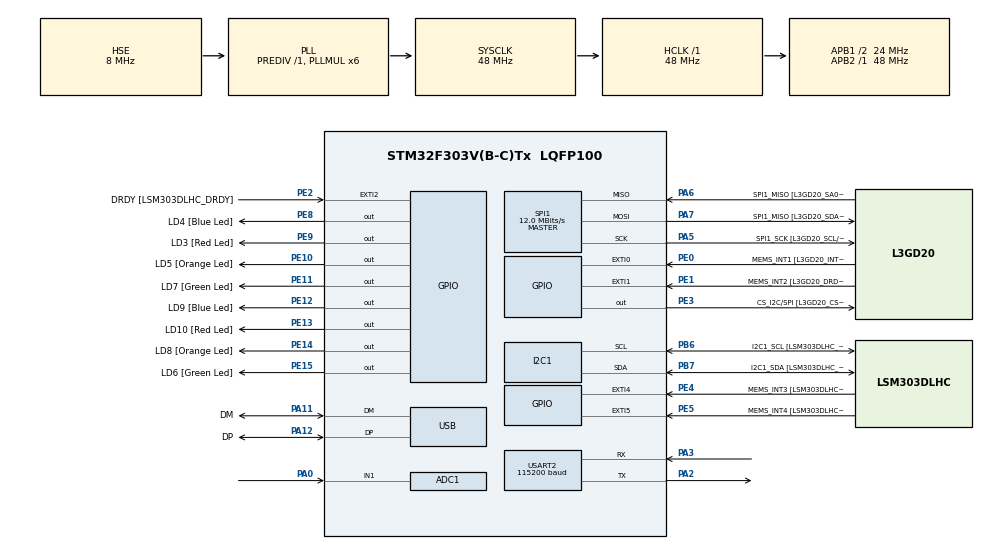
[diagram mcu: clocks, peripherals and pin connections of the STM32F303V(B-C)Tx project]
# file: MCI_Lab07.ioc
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ADC1.Channel-0\#ChannelRegularConversion=ADC_CHANNEL_1
ADC1.ContinuousConvMode=ENABLE
ADC1.NbrOfConversionFlag=1
ADC1.Offset-0\#ChannelRegularConversion=0
ADC1.OffsetNumber-0\#ChannelRegularConversion=ADC_OFFSET_NONE
ADC1.Rank-0\#ChannelRegularConversion=1
ADC1.SamplingTime-0\#ChannelRegularConversion=ADC_SAMPLETIME_601CYCLES_5
ADC1.master=1
I2C1.Timing=0x00201D2B
I2C1.Timing-I2C=0x2000090E
Mcu.Family=STM32F3
Mcu.Name=STM32F303V(B-C)Tx
Mcu.Package=LQFP100
NVIC.ADC1_2_IRQn=true\:0\:0\:false\:false\:true\:true\:true\:true
NVIC.PriorityGroup=NVIC_PRIORITYGROUP_0
PA0.Mode=IN1-Single-Ended
PA0.Signal=ADC1_IN1
PA11.GPIO_Label=DM
PA11.Mode=Device
PA11.Signal=USB_DM
PA12.GPIO_Label=DP
PA12.Mode=Device
PA12.Signal=USB_DP
PA13.GPIO_Label=SWDIO
PA13.Mode=Serial_Wire
PA13.Signal=SYS_JTMS-SWDIO
PA14.GPIO_Label=SWCLK
PA14.Mode=Serial_Wire
PA14.Signal=SYS_JTCK-SWCLK
PA2.Mode=Asynchronous
PA2.Signal=USART2_TX
PA3.Mode=Asynchronous
PA3.Signal=USART2_RX
PA5.GPIO_Label=SPI1_SCK [L3GD20_SCL/SPC]
PA5.Mode=Full_Duplex_Master
PA5.Signal=SPI1_SCK
PA6.GPIO_Label=SPI1_MISO [L3GD20_SA0/SDO]
PA6.Mode=Full_Duplex_Master
PA6.Signal=SPI1_MISO
PA7.GPIO_Label=SPI1_MISO [L3GD20_SDA/SDI/SDO]
PA7.Mode=Full_Duplex_Master
PA7.Signal=SPI1_MOSI
PB3.GPIO_Label=SWO
PB3.Signal=SYS_JTDO-TRACESWO
PB6.GPIO_Label=I2C1_SCL [LSM303DLHC_SCL]
PB6.GPIO_Pu=GPIO_PULLUP
PB6.Mode=I2C
PB6.Signal=I2C1_SCL
PB7.GPIO_Label=I2C1_SDA [LSM303DLHC_SDA]
PB7.GPIO_Pu=GPIO_PULLUP
PB7.Mode=I2C
PB7.Signal=I2C1_SDA
PC14-OSC32_IN.GPIO_Label=OSC32_IN
PC14-OSC32_IN.Signal=RCC_OSC32_IN
PC15-OSC32_OUT.GPIO_Label=OSC32_OUT
PC15-OSC32_OUT.Signal=RCC_OSC32_OUT
PE0.GPIO_Label=MEMS_INT1 [L3GD20_INT1]
PE0.GPIO_ModeDefaultEXTI=GPIO_MODE_EVT_RISING
PE0.Signal=GPXTI0
PE1.GPIO_Label=MEMS_INT2 [L3GD20_DRDY/INT2]
PE1.GPIO_ModeDefaultEXTI=GPIO_MODE_EVT_RISING
PE1.Signal=GPXTI1
PE10.GPIO_Label=LD5 [Orange Led]
PE10.Signal=GPIO_Output
PE11.GPIO_Label=LD7 [Green Led]
PE11.Signal=GPIO_Output
PE12.GPIO_Label=LD9 [Blue Led]
PE12.Signal=GPIO_Output
PE13.GPIO_Label=LD10 [Red Led]
PE13.Signal=GPIO_Output
PE14.GPIO_Label=LD8 [Orange Led]
PE14.Signal=GPIO_Output
PE15.GPIO_Label=LD6 [Green Led]
PE15.Signal=GPIO_Output
PE2.GPIO_Label=DRDY [LSM303DLHC_DRDY]
PE2.GPIO_ModeDefaultEXTI=GPIO_MODE_EVT_RISING
PE2.Signal=GPXTI2
PE3.GPIO_Label=CS_I2C/SPI [L3GD20_CS_I2C/SPI]
PE3.Signal=GPIO_Output
PE4.GPIO_Label=MEMS_INT3 [LSM303DLHC_INT1]
PE4.GPIO_ModeDefaultEXTI=GPIO_MODE_EVT_RISING
PE4.Signal=GPXTI4
PE5.GPIO_Label=MEMS_INT4 [LSM303DLHC_INT2]
PE5.GPIO_ModeDefaultEXTI=GPIO_MODE_EVT_RISING
PE5.Signal=GPXTI5
PE8.GPIO_Label=LD4 [Blue Led]
PE8.Signal=GPIO_Output
PE9.GPIO_Label=LD3 [Red Led]
PE9.Signal=GPIO_Output
PF0-OSC_IN.GPIO_Label=OSC_IN
PF0-OSC_IN.Mode=HSE-External-Clock-Source
PF0-OSC_IN.Signal=RCC_OSC_IN
PF1-OSC_OUT.GPIO_Label=OSC_OUT
PF1-OSC_OUT.Signal=RCC_OSC_OUT
ProjectManager.HeapSize=0x200
ProjectManager.StackSize=0x400
ProjectManager.TargetToolchain=CMake
RCC.AHBFreq_Value=48000000
RCC.APB1CLKDivider=RCC_HCLK_DIV2
RCC.APB1Freq_Value=24000000
RCC.APB1TimFreq_Value=48000000
RCC.APB2Freq_Value=48000000
RCC.APB2TimFreq_Value=48000000
RCC.CortexFreq_Value=48000000
RCC.HCLKFreq_Value=48000000
RCC.HSE_VALUE=8000000
RCC.HSI_VALUE=8000000
RCC.LSE_VALUE=32768
RCC.PLLMUL=RCC_PLL_MUL6
RCC.SYSCLKFreq_VALUE=48000000
RCC.SYSCLKSourceVirtual=RCC_SYSCLKSOURCE_PLLCLK
RCC.USBFreq_Value=48000000
SPI1.BaudRatePrescaler=SPI_BAUDRATEPRESCALER_4
SPI1.BaudRatePrescaler-Full_Duplex_Master=SPI_BAUDRATEPRESCALER_2
SPI1.CalculateBaudRate=12.0 MBits/s
SPI1.CalculateBaudRate-Full_Duplex_Master=24.0 MBits/s
SPI1.Direction=SPI_DIRECTION_2LINES
SPI1.Mode=SPI_MODE_MASTER
SPI1.Mode-Full_Duplex_Master=SPI_MODE_MASTER
SPI1.VirtualType=VM_MASTER
USART2.BaudRate=115200
USART2.VirtualMode-Asynchronous=VM_ASYNC
board=STM32F3DISCOVERY

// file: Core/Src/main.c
/* USER CODE BEGIN Header */
/**
  ******************************************************************************
  * @file           : main.c
  * @brief          : Main program body
  ******************************************************************************
  * @attention
  *
  * Copyright (c) 2026 STMicroelectronics.
  * All rights reserved.
  *
  * This software is licensed under terms that can be found in the LICENSE file
  * in the root directory of this software component.
  * If no LICENSE file comes with this software, it is provided AS-IS.
  *
  ******************************************************************************
  */
/* USER CODE END Header */
#include "main.h"

/* USER CODE BEGIN Includes */
#include <stdint.h>
#include <stdio.h>
#include <string.h>
#include "arm_math.h"
/* USER CODE END Includes */

/* USER CODE BEGIN PD */
#define FILTER_LEN 10
/* USER CODE END PD */

ADC_HandleTypeDef hadc1;

I2C_HandleTypeDef hi2c1;

SPI_HandleTypeDef hspi1;

UART_HandleTypeDef huart2;

PCD_HandleTypeDef hpcd_USB_FS;

/* USER CODE BEGIN PV */
//Task 2:
// Define a buffer to hold the last 10 ADC values for filtering
float32_t inputBuffer[FILTER_LEN];
float32_t filtered_output;
uint8_t bufferIndex = 0;
/* USER CODE END PV */

void SystemClock_Config(void);
static void MX_GPIO_Init(void);
static void MX_ADC1_Init(void);
static void MX_I2C1_Init(void);
static void MX_SPI1_Init(void);
static void MX_USB_PCD_Init(void);
static void MX_USART2_UART_Init(void);

/* USER CODE BEGIN 0 */
void apply_moving_average(float32_t new_sample) {
    inputBuffer[bufferIndex] = new_sample;
    bufferIndex = (bufferIndex + 1) % FILTER_LEN;
    arm_mean_f32(inputBuffer, FILTER_LEN, &filtered_output);
}
/* USER CODE END 0 */

int main(void)
{

  /* MCU Configuration--------------------------------------------------------*/

  /* Reset of all peripherals, Initializes the Flash interface and the Systick. */
  HAL_Init();

  /* Configure the system clock */
  SystemClock_Config();

  /* Initialize all configured peripherals */
  MX_GPIO_Init();
  MX_ADC1_Init();
  MX_I2C1_Init();
  MX_SPI1_Init();
  MX_USB_PCD_Init();
  MX_USART2_UART_Init();
  /* USER CODE BEGIN 2 */
  // Calibrate ADC1 in single-ended mode
  HAL_ADCEx_Calibration_Start(&hadc1, ADC_SINGLE_ENDED);

  // PART 1: Polling Mode (comment out for Part 2)
  HAL_ADC_Start(&hadc1);

  // PART 2: Interrupt Mode (uncomment for Part 2)
  // HAL_ADC_Start_IT(&hadc1);

  /* USER CODE END 2 */

  /* Infinite loop */
  while (1)
  {

    /* USER CODE BEGIN 3 */
    // Task 1: read voltage of potientiometer
    // wait for ADC1 to finish conversion
    // HAL_ADC_PollForConversion(&hadc1, HAL_MAX_DELAY);

    // // read ADC1 converted value
    // uint32_t adc_ki_value = HAL_ADC_GetValue(&hadc1);

    // char adc_str[50];

    // //Formats the number into readable text and returns the number of characters written to the string
    // int len = snprintf(adc_str, sizeof(adc_str), "ADC Value: %lu\r\n", (unsigned long)adc_ki_value);

    // // send over UART2
    // HAL_UART_Transmit(&huart2, (uint8_t*)adc_str, len, HAL_MAX_DELAY);

    // // delay
    // HAL_Delay(10);

     // Task 2 - Polling Mode:
    HAL_ADC_PollForConversion(&hadc1, HAL_MAX_DELAY);
    uint32_t adc_raw = HAL_ADC_GetValue(&hadc1);

    float32_t voltage = (float32_t)adc_raw * (3.3f / 4095.0f);
    apply_moving_average(voltage);

    uint32_t filtered_int = (uint32_t)(filtered_output * (4095.0f / 3.3f));

    char msg[64];
    int len = snprintf(msg, sizeof(msg), "%lu,%lu\r\n", (uint32_t)adc_raw, (uint32_t)filtered_int);
    HAL_UART_Transmit(&huart2, (uint8_t*)msg, len, HAL_MAX_DELAY);

    // HAL_Delay(10);

    // PART 2: Interrupt Mode
    HAL_Delay(10);

  }
  /* USER CODE END 3 */
}

void SystemClock_Config(void)
{
  RCC_OscInitTypeDef RCC_OscInitStruct = {0};
  RCC_ClkInitTypeDef RCC_ClkInitStruct = {0};
  RCC_PeriphCLKInitTypeDef PeriphClkInit = {0};

  /** Initializes the RCC Oscillators according to the specified parameters
  * in the RCC_OscInitTypeDef structure.
  */
  RCC_OscInitStruct.OscillatorType = RCC_OSCILLATORTYPE_HSI|RCC_OSCILLATORTYPE_HSE;
  RCC_OscInitStruct.HSEState = RCC_HSE_BYPASS;
  RCC_OscInitStruct.HSEPredivValue = RCC_HSE_PREDIV_DIV1;
  RCC_OscInitStruct.HSIState = RCC_HSI_ON;
  RCC_OscInitStruct.HSICalibrationValue = RCC_HSICALIBRATION_DEFAULT;
  RCC_OscInitStruct.PLL.PLLState = RCC_PLL_ON;
  RCC_OscInitStruct.PLL.PLLSource = RCC_PLLSOURCE_HSE;
  RCC_OscInitStruct.PLL.PLLMUL = RCC_PLL_MUL6;
  if (HAL_RCC_OscConfig(&RCC_OscInitStruct) != HAL_OK)
  {
    Error_Handler();
  }

  /** Initializes the CPU, AHB and APB buses clocks
  */
  RCC_ClkInitStruct.ClockType = RCC_CLOCKTYPE_HCLK|RCC_CLOCKTYPE_SYSCLK
                              |RCC_CLOCKTYPE_PCLK1|RCC_CLOCKTYPE_PCLK2;
  RCC_ClkInitStruct.SYSCLKSource = RCC_SYSCLKSOURCE_PLLCLK;
  RCC_ClkInitStruct.AHBCLKDivider = RCC_SYSCLK_DIV1;
  RCC_ClkInitStruct.APB1CLKDivider = RCC_HCLK_DIV2;
  RCC_ClkInitStruct.APB2CLKDivider = RCC_HCLK_DIV1;

  if (HAL_RCC_ClockConfig(&RCC_ClkInitStruct, FLASH_LATENCY_1) != HAL_OK)
  {
    Error_Handler();
  }
  PeriphClkInit.PeriphClockSelection = RCC_PERIPHCLK_USB|RCC_PERIPHCLK_USART2
                              |RCC_PERIPHCLK_I2C1|RCC_PERIPHCLK_ADC12;
  PeriphClkInit.Usart2ClockSelection = RCC_USART2CLKSOURCE_PCLK1;
  PeriphClkInit.Adc12ClockSelection = RCC_ADC12PLLCLK_DIV1;
  PeriphClkInit.I2c1ClockSelection = RCC_I2C1CLKSOURCE_HSI;
  PeriphClkInit.USBClockSelection = RCC_USBCLKSOURCE_PLL;
  if (HAL_RCCEx_PeriphCLKConfig(&PeriphClkInit) != HAL_OK)
  {
    Error_Handler();
  }
}

static void MX_ADC1_Init(void)
{

  ADC_MultiModeTypeDef multimode = {0};
  ADC_ChannelConfTypeDef sConfig = {0};

  /** Common config
  */
  hadc1.Instance = ADC1;
  hadc1.Init.ClockPrescaler = ADC_CLOCK_ASYNC_DIV1;
  hadc1.Init.Resolution = ADC_RESOLUTION_12B;
  hadc1.Init.ScanConvMode = ADC_SCAN_DISABLE;
  hadc1.Init.ContinuousConvMode = ENABLE;
  hadc1.Init.DiscontinuousConvMode = DISABLE;
  hadc1.Init.ExternalTrigConvEdge = ADC_EXTERNALTRIGCONVEDGE_NONE;
  hadc1.Init.ExternalTrigConv = ADC_SOFTWARE_START;
  hadc1.Init.DataAlign = ADC_DATAALIGN_RIGHT;
  hadc1.Init.NbrOfConversion = 1;
  hadc1.Init.DMAContinuousRequests = DISABLE;
  hadc1.Init.EOCSelection = ADC_EOC_SINGLE_CONV;
  hadc1.Init.LowPowerAutoWait = DISABLE;
  hadc1.Init.Overrun = ADC_OVR_DATA_OVERWRITTEN;
  if (HAL_ADC_Init(&hadc1) != HAL_OK)
  {
    Error_Handler();
  }

  /** Configure the ADC multi-mode
  */
  multimode.Mode = ADC_MODE_INDEPENDENT;
  if (HAL_ADCEx_MultiModeConfigChannel(&hadc1, &multimode) != HAL_OK)
  {
    Error_Handler();
  }

  /** Configure Regular Channel
  */
  sConfig.Channel = ADC_CHANNEL_1;
  sConfig.Rank = ADC_REGULAR_RANK_1;
  sConfig.SingleDiff = ADC_SINGLE_ENDED;
  sConfig.SamplingTime = ADC_SAMPLETIME_601CYCLES_5;
  sConfig.OffsetNumber = ADC_OFFSET_NONE;
  sConfig.Offset = 0;
  if (HAL_ADC_ConfigChannel(&hadc1, &sConfig) != HAL_OK)
  {
    Error_Handler();
  }

}

static void MX_I2C1_Init(void)
{

  hi2c1.Instance = I2C1;
  hi2c1.Init.Timing = 0x00201D2B;
  hi2c1.Init.OwnAddress1 = 0;
  hi2c1.Init.AddressingMode = I2C_ADDRESSINGMODE_7BIT;
  hi2c1.Init.DualAddressMode = I2C_DUALADDRESS_DISABLE;
  hi2c1.Init.OwnAddress2 = 0;
  hi2c1.Init.OwnAddress2Masks = I2C_OA2_NOMASK;
  hi2c1.Init.GeneralCallMode = I2C_GENERALCALL_DISABLE;
  hi2c1.Init.NoStretchMode = I2C_NOSTRETCH_DISABLE;
  if (HAL_I2C_Init(&hi2c1) != HAL_OK)
  {
    Error_Handler();
  }

  /** Configure Analogue filter
  */
  if (HAL_I2CEx_ConfigAnalogFilter(&hi2c1, I2C_ANALOGFILTER_ENABLE) != HAL_OK)
  {
    Error_Handler();
  }

  /** Configure Digital filter
  */
  if (HAL_I2CEx_ConfigDigitalFilter(&hi2c1, 0) != HAL_OK)
  {
    Error_Handler();
  }

}

static void MX_SPI1_Init(void)
{

  /* SPI1 parameter configuration*/
  hspi1.Instance = SPI1;
  hspi1.Init.Mode = SPI_MODE_MASTER;
  hspi1.Init.Direction = SPI_DIRECTION_2LINES;
  hspi1.Init.DataSize = SPI_DATASIZE_4BIT;
  hspi1.Init.CLKPolarity = SPI_POLARITY_LOW;
  hspi1.Init.CLKPhase = SPI_PHASE_1EDGE;
  hspi1.Init.NSS = SPI_NSS_SOFT;
  hspi1.Init.BaudRatePrescaler = SPI_BAUDRATEPRESCALER_4;
  hspi1.Init.FirstBit = SPI_FIRSTBIT_MSB;
  hspi1.Init.TIMode = SPI_TIMODE_DISABLE;
  hspi1.Init.CRCCalculation = SPI_CRCCALCULATION_DISABLE;
  hspi1.Init.CRCPolynomial = 7;
  hspi1.Init.CRCLength = SPI_CRC_LENGTH_DATASIZE;
  hspi1.Init.NSSPMode = SPI_NSS_PULSE_ENABLE;
  if (HAL_SPI_Init(&hspi1) != HAL_OK)
  {
    Error_Handler();
  }

}

static void MX_USART2_UART_Init(void)
{

  huart2.Instance = USART2;
  huart2.Init.BaudRate = 115200;
  huart2.Init.WordLength = UART_WORDLENGTH_8B;
  huart2.Init.StopBits = UART_STOPBITS_1;
  huart2.Init.Parity = UART_PARITY_NONE;
  huart2.Init.Mode = UART_MODE_TX_RX;
  huart2.Init.HwFlowCtl = UART_HWCONTROL_NONE;
  huart2.Init.OverSampling = UART_OVERSAMPLING_16;
  huart2.Init.OneBitSampling = UART_ONE_BIT_SAMPLE_DISABLE;
  huart2.AdvancedInit.AdvFeatureInit = UART_ADVFEATURE_NO_INIT;
  if (HAL_UART_Init(&huart2) != HAL_OK)
  {
    Error_Handler();
  }

}

static void MX_USB_PCD_Init(void)
{

  hpcd_USB_FS.Instance = USB;
  hpcd_USB_FS.Init.dev_endpoints = 8;
  hpcd_USB_FS.Init.speed = PCD_SPEED_FULL;
  hpcd_USB_FS.Init.phy_itface = PCD_PHY_EMBEDDED;
  hpcd_USB_FS.Init.low_power_enable = DISABLE;
  hpcd_USB_FS.Init.battery_charging_enable = DISABLE;
  if (HAL_PCD_Init(&hpcd_USB_FS) != HAL_OK)
  {
    Error_Handler();
  }

}

static void MX_GPIO_Init(void)
{
  GPIO_InitTypeDef GPIO_InitStruct = {0};

  /* GPIO Ports Clock Enable */
  __HAL_RCC_GPIOE_CLK_ENABLE();
  __HAL_RCC_GPIOC_CLK_ENABLE();
  __HAL_RCC_GPIOF_CLK_ENABLE();
  __HAL_RCC_GPIOA_CLK_ENABLE();
  __HAL_RCC_GPIOB_CLK_ENABLE();

  /*Configure GPIO pin Output Level */
  HAL_GPIO_WritePin(GPIOE, CS_I2C_SPI_Pin|LD4_Pin|LD3_Pin|LD5_Pin
                          |LD7_Pin|LD9_Pin|LD10_Pin|LD8_Pin
                          |LD6_Pin, GPIO_PIN_RESET);

  /*Configure GPIO pins : DRDY_Pin MEMS_INT3_Pin MEMS_INT4_Pin MEMS_INT1_Pin
                           MEMS_INT2_Pin */
  GPIO_InitStruct.Pin = DRDY_Pin|MEMS_INT3_Pin|MEMS_INT4_Pin|MEMS_INT1_Pin
                          |MEMS_INT2_Pin;
  GPIO_InitStruct.Mode = GPIO_MODE_EVT_RISING;
  GPIO_InitStruct.Pull = GPIO_NOPULL;
  HAL_GPIO_Init(GPIOE, &GPIO_InitStruct);

  /*Configure GPIO pins : CS_I2C_SPI_Pin LD4_Pin LD3_Pin LD5_Pin
                           LD7_Pin LD9_Pin LD10_Pin LD8_Pin
                           LD6_Pin */
  GPIO_InitStruct.Pin = CS_I2C_SPI_Pin|LD4_Pin|LD3_Pin|LD5_Pin
                          |LD7_Pin|LD9_Pin|LD10_Pin|LD8_Pin
                          |LD6_Pin;
  GPIO_InitStruct.Mode = GPIO_MODE_OUTPUT_PP;
  GPIO_InitStruct.Pull = GPIO_NOPULL;
  GPIO_InitStruct.Speed = GPIO_SPEED_FREQ_LOW;
  HAL_GPIO_Init(GPIOE, &GPIO_InitStruct);

}

/* USER CODE BEGIN 4 */

// ===== ADC Interrupt Callback (Part 2: Interrupt Mode) =====
void HAL_ADC_ConvCpltCallback(ADC_HandleTypeDef *hadc) {
    if (hadc->Instance == ADC1) {
        // Get the raw ADC value
        uint32_t adc_raw = HAL_ADC_GetValue(hadc);

        // Convert to voltage (0-3.3V scale)
        float32_t voltage = (float32_t)adc_raw * (3.3f / 4095.0f);

        // Apply 10-point moving average filter
        apply_moving_average(voltage);

        // Convert filtered voltage back to ADC scale (0-4095)
        uint32_t filtered_int = (uint32_t)(filtered_output * (4095.0f / 3.3f));

        // Transmit format: rawValue,filteredValue
        char msg[64];
        int len = snprintf(msg, sizeof(msg), "%lu,%lu\r\n", (unsigned long)adc_raw, (unsigned long)filtered_int);
        HAL_UART_Transmit(&huart2, (uint8_t*)msg, len, HAL_MAX_DELAY);
    }
}

/* USER CODE END 4 */

void Error_Handler(void)
{
  __disable_irq();
  while (1)
  {
  }
}
